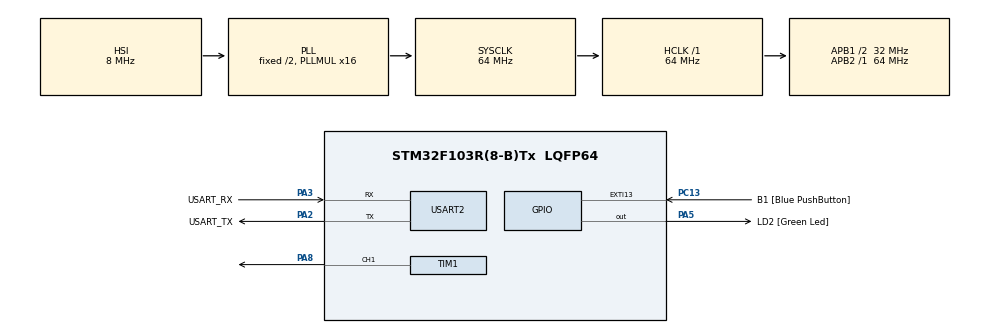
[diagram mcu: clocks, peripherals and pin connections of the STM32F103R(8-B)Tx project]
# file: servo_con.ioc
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Mcu.Family=STM32F1
Mcu.Name=STM32F103R(8-B)Tx
Mcu.Package=LQFP64
NVIC.EXTI15_10_IRQn=true\:0\:0\:false\:false\:true\:true\:true\:true
NVIC.PriorityGroup=NVIC_PRIORITYGROUP_4
PA13.GPIO_Label=TMS
PA13.Mode=Serial_Wire
PA13.Signal=SYS_JTMS-SWDIO
PA14.GPIO_Label=TCK
PA14.Mode=Serial_Wire
PA14.Signal=SYS_JTCK-SWCLK
PA2.GPIO_Label=USART_TX
PA2.GPIO_Mode=GPIO_MODE_AF_PP
PA2.GPIO_PuPd=GPIO_NOPULL
PA2.GPIO_Speed=GPIO_SPEED_FREQ_LOW
PA2.Mode=Asynchronous
PA2.Signal=USART2_TX
PA3.GPIO_Label=USART_RX
PA3.GPIO_Mode=GPIO_MODE_AF_PP
PA3.GPIO_PuPd=GPIO_NOPULL
PA3.GPIO_Speed=GPIO_SPEED_FREQ_LOW
PA3.Mode=Asynchronous
PA3.Signal=USART2_RX
PA5.GPIO_Label=LD2 [Green Led]
PA5.GPIO_ModeDefaultOutputPP=GPIO_MODE_OUTPUT_PP
PA5.GPIO_PuPd=GPIO_NOPULL
PA5.GPIO_Speed=GPIO_SPEED_FREQ_LOW
PA5.Signal=GPIO_Output
PA8.Signal=S_TIM1_CH1
PB3.GPIO_Label=SWO
PB3.Signal=SYS_JTDO-TRACESWO
PC13-TAMPER-RTC.GPIO_Label=B1 [Blue PushButton]
PC13-TAMPER-RTC.GPIO_PuPd=GPIO_NOPULL
PC13-TAMPER-RTC.Signal=GPXTI13
PC14-OSC32_IN.Signal=RCC_OSC32_IN
PC15-OSC32_OUT.Signal=RCC_OSC32_OUT
PD0-OSC_IN.Signal=RCC_OSC_IN
PD1-OSC_OUT.Signal=RCC_OSC_OUT
ProjectManager.HeapSize=0x200
ProjectManager.StackSize=0x400
ProjectManager.TargetToolchain=STM32CubeIDE
RCC.AHBFreq_Value=64000000
RCC.APB1CLKDivider=RCC_HCLK_DIV2
RCC.APB1Freq_Value=32000000
RCC.APB1TimFreq_Value=64000000
RCC.APB2Freq_Value=64000000
RCC.APB2TimFreq_Value=64000000
RCC.HCLKFreq_Value=64000000
RCC.PLLMUL=RCC_PLL_MUL16
RCC.RTCClockSelection=RCC_RTCCLKSOURCE_LSE
RCC.SYSCLKFreq_VALUE=64000000
RCC.SYSCLKSource=RCC_SYSCLKSOURCE_PLLCLK
RCC.USBFreq_Value=64000000
SH.S_TIM1_CH1.0=TIM1_CH1,PWM Generation1 CH1
TIM1.Channel-PWM\ Generation1\ CH1=TIM_CHANNEL_1
TIM1.Period=1000-1
TIM1.Prescaler=1280-1
TIM1.Pulse-PWM\ Generation1\ CH1=25580
USART2.VirtualMode=VM_ASYNC
VP_TIM1_VS_ClockSourceINT.Mode=Internal
board=NUCLEO-F103RB

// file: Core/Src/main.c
/* USER CODE BEGIN Header */
/**
  ******************************************************************************
  * @file           : main.c
  * @brief          : Main program body
  ******************************************************************************
  * @attention
  *
  * Copyright (c) 2025 STMicroelectronics.
  * All rights reserved.
  *
  * This software is licensed under terms that can be found in the LICENSE file
  * in the root directory of this software component.
  * If no LICENSE file comes with this software, it is provided AS-IS.
  *
  ******************************************************************************
  */
/* USER CODE END Header */
#include "main.h"

/* USER CODE BEGIN Includes */
#include "stm32f103xb.h"
#include <stdio.h>
/* USER CODE END Includes */

TIM_HandleTypeDef htim1;

UART_HandleTypeDef huart2;

/* USER CODE BEGIN PV */
uint16_t key;
int pos_pan = 75;
/* USER CODE END PV */

void SystemClock_Config(void);
static void MX_GPIO_Init(void);
static void MX_USART2_UART_Init(void);
static void MX_TIM1_Init(void);

/* USER CODE BEGIN 0 */
void move_motor(uint8_t angle)
{
	uint32_t ccr_val = 50 +((angle * (100 - 50)) / 180);
	__HAL_TIM_SET_COMPARE(&htim1, TIM_CHANNEL_1, ccr_val);

}
/* USER CODE END 0 */

int main(void)
{

  /* MCU Configuration--------------------------------------------------------*/

  /* Reset of all peripherals, Initializes the Flash interface and the Systick. */
  HAL_Init();

  /* Configure the system clock */
  SystemClock_Config();

  /* Initialize all configured peripherals */
  MX_GPIO_Init();
  MX_USART2_UART_Init();
  MX_TIM1_Init();

  /* Infinite loop */
  /* USER CODE BEGIN WHILE */
  HAL_TIM_PWM_Start(&htim1, TIM_CHANNEL_1);

  while (1)
  {
    /* USER CODE END WHILE */

    /* USER CODE BEGIN 3 */
	  	__HAL_TIM_SET_COMPARE(&htim1, TIM_CHANNEL_1, pos_pan);
	  	HAL_Delay(1000);
	  	move_motor(15);
		HAL_Delay(1000);

		__HAL_TIM_SET_COMPARE(&htim1, TIM_CHANNEL_1, pos_pan);
		HAL_Delay(1000);
	  	move_motor(90);
		HAL_Delay(1000);

		__HAL_TIM_SET_COMPARE(&htim1, TIM_CHANNEL_1, pos_pan);
		HAL_Delay(1000);
	  	move_motor(180);
		HAL_Delay(1000);
  }
  /* USER CODE END 3 */
}

void SystemClock_Config(void)
{
  RCC_OscInitTypeDef RCC_OscInitStruct = {0};
  RCC_ClkInitTypeDef RCC_ClkInitStruct = {0};

  /** Initializes the RCC Oscillators according to the specified parameters
  * in the RCC_OscInitTypeDef structure.
  */
  RCC_OscInitStruct.OscillatorType = RCC_OSCILLATORTYPE_HSI;
  RCC_OscInitStruct.HSIState = RCC_HSI_ON;
  RCC_OscInitStruct.HSICalibrationValue = RCC_HSICALIBRATION_DEFAULT;
  RCC_OscInitStruct.PLL.PLLState = RCC_PLL_ON;
  RCC_OscInitStruct.PLL.PLLSource = RCC_PLLSOURCE_HSI_DIV2;
  RCC_OscInitStruct.PLL.PLLMUL = RCC_PLL_MUL16;
  if (HAL_RCC_OscConfig(&RCC_OscInitStruct) != HAL_OK)
  {
    Error_Handler();
  }

  /** Initializes the CPU, AHB and APB buses clocks
  */
  RCC_ClkInitStruct.ClockType = RCC_CLOCKTYPE_HCLK|RCC_CLOCKTYPE_SYSCLK
                              |RCC_CLOCKTYPE_PCLK1|RCC_CLOCKTYPE_PCLK2;
  RCC_ClkInitStruct.SYSCLKSource = RCC_SYSCLKSOURCE_PLLCLK;
  RCC_ClkInitStruct.AHBCLKDivider = RCC_SYSCLK_DIV1;
  RCC_ClkInitStruct.APB1CLKDivider = RCC_HCLK_DIV2;
  RCC_ClkInitStruct.APB2CLKDivider = RCC_HCLK_DIV1;

  if (HAL_RCC_ClockConfig(&RCC_ClkInitStruct, FLASH_LATENCY_2) != HAL_OK)
  {
    Error_Handler();
  }
}

static void MX_TIM1_Init(void)
{

  TIM_ClockConfigTypeDef sClockSourceConfig = {0};
  TIM_MasterConfigTypeDef sMasterConfig = {0};
  TIM_OC_InitTypeDef sConfigOC = {0};
  TIM_BreakDeadTimeConfigTypeDef sBreakDeadTimeConfig = {0};

  htim1.Instance = TIM1;
  htim1.Init.Prescaler = 1280-1;
  htim1.Init.CounterMode = TIM_COUNTERMODE_UP;
  htim1.Init.Period = 1000-1;
  htim1.Init.ClockDivision = TIM_CLOCKDIVISION_DIV1;
  htim1.Init.RepetitionCounter = 0;
  htim1.Init.AutoReloadPreload = TIM_AUTORELOAD_PRELOAD_DISABLE;
  if (HAL_TIM_Base_Init(&htim1) != HAL_OK)
  {
    Error_Handler();
  }
  sClockSourceConfig.ClockSource = TIM_CLOCKSOURCE_INTERNAL;
  if (HAL_TIM_ConfigClockSource(&htim1, &sClockSourceConfig) != HAL_OK)
  {
    Error_Handler();
  }
  if (HAL_TIM_PWM_Init(&htim1) != HAL_OK)
  {
    Error_Handler();
  }
  sMasterConfig.MasterOutputTrigger = TIM_TRGO_RESET;
  sMasterConfig.MasterSlaveMode = TIM_MASTERSLAVEMODE_DISABLE;
  if (HAL_TIMEx_MasterConfigSynchronization(&htim1, &sMasterConfig) != HAL_OK)
  {
    Error_Handler();
  }
  sConfigOC.OCMode = TIM_OCMODE_PWM1;
  sConfigOC.Pulse = 25580;
  sConfigOC.OCPolarity = TIM_OCPOLARITY_HIGH;
  sConfigOC.OCNPolarity = TIM_OCNPOLARITY_HIGH;
  sConfigOC.OCFastMode = TIM_OCFAST_DISABLE;
  sConfigOC.OCIdleState = TIM_OCIDLESTATE_RESET;
  sConfigOC.OCNIdleState = TIM_OCNIDLESTATE_RESET;
  if (HAL_TIM_PWM_ConfigChannel(&htim1, &sConfigOC, TIM_CHANNEL_1) != HAL_OK)
  {
    Error_Handler();
  }
  sBreakDeadTimeConfig.OffStateRunMode = TIM_OSSR_DISABLE;
  sBreakDeadTimeConfig.OffStateIDLEMode = TIM_OSSI_DISABLE;
  sBreakDeadTimeConfig.LockLevel = TIM_LOCKLEVEL_OFF;
  sBreakDeadTimeConfig.DeadTime = 0;
  sBreakDeadTimeConfig.BreakState = TIM_BREAK_DISABLE;
  sBreakDeadTimeConfig.BreakPolarity = TIM_BREAKPOLARITY_HIGH;
  sBreakDeadTimeConfig.AutomaticOutput = TIM_AUTOMATICOUTPUT_DISABLE;
  if (HAL_TIMEx_ConfigBreakDeadTime(&htim1, &sBreakDeadTimeConfig) != HAL_OK)
  {
    Error_Handler();
  }
  HAL_TIM_MspPostInit(&htim1);

}

static void MX_USART2_UART_Init(void)
{

  huart2.Instance = USART2;
  huart2.Init.BaudRate = 115200;
  huart2.Init.WordLength = UART_WORDLENGTH_8B;
  huart2.Init.StopBits = UART_STOPBITS_1;
  huart2.Init.Parity = UART_PARITY_NONE;
  huart2.Init.Mode = UART_MODE_TX_RX;
  huart2.Init.HwFlowCtl = UART_HWCONTROL_NONE;
  huart2.Init.OverSampling = UART_OVERSAMPLING_16;
  if (HAL_UART_Init(&huart2) != HAL_OK)
  {
    Error_Handler();
  }

}

static void MX_GPIO_Init(void)
{
  GPIO_InitTypeDef GPIO_InitStruct = {0};

  /* GPIO Ports Clock Enable */
  __HAL_RCC_GPIOC_CLK_ENABLE();
  __HAL_RCC_GPIOD_CLK_ENABLE();
  __HAL_RCC_GPIOA_CLK_ENABLE();
  __HAL_RCC_GPIOB_CLK_ENABLE();

  /*Configure GPIO pin Output Level */
  HAL_GPIO_WritePin(LD2_GPIO_Port, LD2_Pin, GPIO_PIN_RESET);

  /*Configure GPIO pin : B1_Pin */
  GPIO_InitStruct.Pin = B1_Pin;
  GPIO_InitStruct.Mode = GPIO_MODE_IT_RISING;
  GPIO_InitStruct.Pull = GPIO_NOPULL;
  HAL_GPIO_Init(B1_GPIO_Port, &GPIO_InitStruct);

  /*Configure GPIO pin : LD2_Pin */
  GPIO_InitStruct.Pin = LD2_Pin;
  GPIO_InitStruct.Mode = GPIO_MODE_OUTPUT_PP;
  GPIO_InitStruct.Pull = GPIO_NOPULL;
  GPIO_InitStruct.Speed = GPIO_SPEED_FREQ_LOW;
  HAL_GPIO_Init(LD2_GPIO_Port, &GPIO_InitStruct);

  /* EXTI interrupt init*/
  HAL_NVIC_SetPriority(EXTI15_10_IRQn, 0, 0);
  HAL_NVIC_EnableIRQ(EXTI15_10_IRQn);

}

void Error_Handler(void)
{
  __disable_irq();
  while (1)
  {
  }
}
